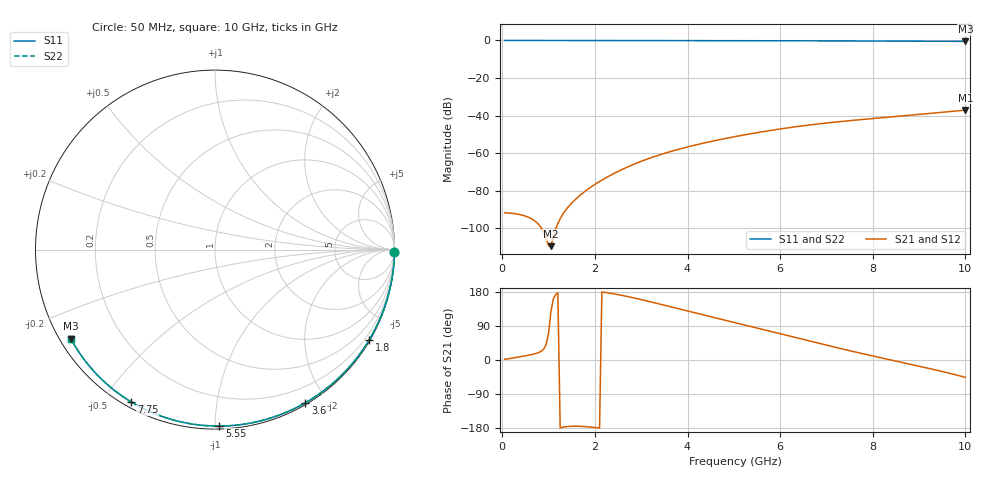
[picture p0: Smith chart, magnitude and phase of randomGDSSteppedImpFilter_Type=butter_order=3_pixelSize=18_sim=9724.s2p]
! freq	dB(S11)	phase(S11)	dB(S12)	phase(S12)
!  dB(S21)	phase(S21)	dB(S22)	phase(S22)
!S-par simulation data
#  GHz  S  DB  R 50
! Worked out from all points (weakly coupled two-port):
!   200 points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, 50 MHz to 10 GHz, reference 50 ohm
!   highest |S21| = -37.06 dB at 10 GHz (marker M1); lowest = -109.5 dB at 1.05 GHz (marker M2)
!   lowest |S11| = -0.5 dB at 10 GHz (marker M3), VSWR 34.88, Z = 1.55 - j14.2 ohm
!   |S11| at or under -10 dB: nowhere
!   |S22| runs from -0.5 to 0.0 dB; largest |S21 - S12| = 0
!   S11 on the Smith chart (normalised r, x): 50 MHz: open; 1.8 GHz: 0.03, -3.67; 3.6 GHz: 0.02, -1.75; 5.55 GHz: 0.02, -1.03; 7.75 GHz: 0.02, -0.59; 10 GHz: 0.03, -0.28
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0.05  -0.00 -0.9  -91.78 2.2  -91.78 2.2  -0.00 -0.9
0.55  -0.01 -9.5  -94.00 12.2  -94.00 12.2  -0.01 -9.5
1.05  -0.02 -18.0  -109.52 126.8  -109.52 126.8  -0.02 -18.0
1.75  -0.04 -29.7  -80.99 -175.4  -80.99 -175.4  -0.04 -29.7
1.8  -0.04 -30.5  -80.04 -175.8  -80.04 -175.8  -0.04 -30.5
1.95  -0.04 -33.0  -77.42 -177.4  -77.42 -177.4  -0.04 -33.0
2.15  -0.05 -36.3  -74.34 179.6  -74.34 179.6  -0.05 -36.3
2.5  -0.05 -42.0  -69.71 172.5  -69.71 172.5  -0.05 -42.0
2.7  -0.06 -45.2  -67.41 167.6  -67.41 167.6  -0.06 -45.2
2.95  -0.06 -49.3  -64.83 160.8  -64.83 160.8  -0.06 -49.2
3.4  -0.07 -56.4  -60.88 147.5  -60.88 147.5  -0.07 -56.4
3.6  -0.08 -59.5  -59.37 141.4  -59.37 141.4  -0.08 -59.5
4.25  -0.10 -69.5  -55.19 121.6  -55.19 121.6  -0.10 -69.5
5.05  -0.12 -81.3  -51.07 97.8  -51.07 97.8  -0.12 -81.3
5.55  -0.14 -88.6  -48.88 82.9  -48.88 82.9  -0.14 -88.5
6.1  -0.17 -96.3  -46.76 66.4  -46.76 66.4  -0.17 -96.3
6.7  -0.20 -104.6  -44.80 48.2  -44.80 48.2  -0.20 -104.6
7.2  -0.24 -111.4  -43.43 33.3  -43.43 33.3  -0.24 -111.4
7.75  -0.28 -118.7  -42.12 17.5  -42.12 17.5  -0.28 -118.7
8.35  -0.33 -126.6  -40.81 1.1  -40.81 1.1  -0.33 -126.6
9.2  -0.41 -137.7  -38.94 -21.8  -38.94 -21.8  -0.41 -137.7
10  -0.50 -148.3  -37.06 -45.9  -37.06 -45.9  -0.50 -148.3
